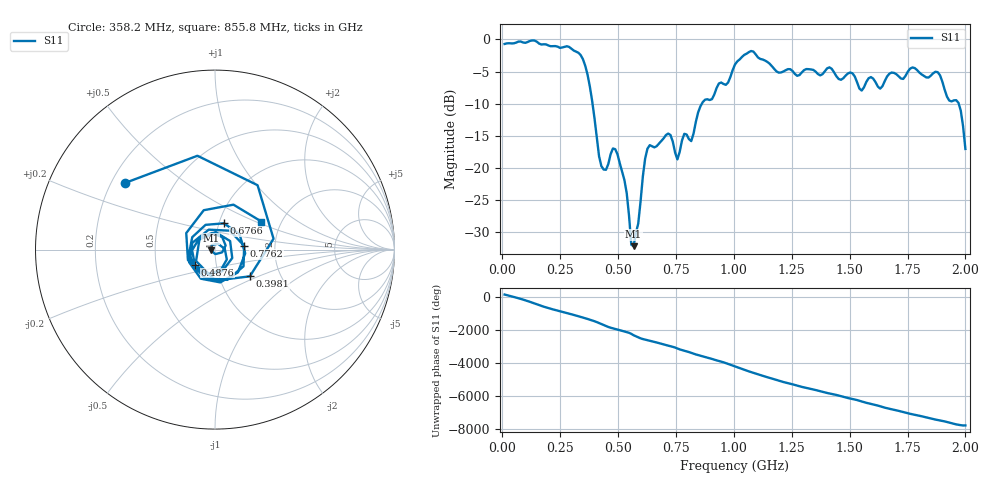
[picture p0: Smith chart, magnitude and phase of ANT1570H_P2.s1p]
!Created with skrf (http://scikit-rf.org).
# Hz S RI R 50.0
!freq ReS11 ImS11
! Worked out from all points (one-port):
!   201 points, 10 MHz to 2 GHz, reference 50 ohm
!   lowest |S11| = -32.2 dB at 567.2 MHz (marker M1), VSWR 1.05, Z = 47.6 - j0.404 ohm
!   |S11| at or under -10 dB: 389.7 MHz to 861.9 MHz (472.3 MHz wide, 75.5 % of centre); 1.971 GHz to end of sweep
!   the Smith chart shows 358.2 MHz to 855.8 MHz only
!   S11 on the Smith chart (normalised r, x): 358.2 MHz: 0.26, +0.31; 398.1 MHz: 1.40, -0.44; 487.6 MHz: 0.79, -0.13; 676.6 MHz: 1.06, +0.32; 776.1 MHz: 1.39, +0.06; 855.8 MHz: 1.58, +0.54
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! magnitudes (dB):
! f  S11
! 10 MHz  -0.7
! 258.8 MHz  -1.3
! 358.2 MHz  -4.1
! 398.1 MHz  -12.2
! 427.9 MHz  -19.7
! 487.6 MHz  -17.1
! 507.5 MHz  -19.3
! 537.4 MHz  -23.9
! 557.2 MHz  -32.0
! 567.2 MHz  -32.2
! 587.1 MHz  -28.7
! 626.9 MHz  -17.0
! 676.6 MHz  -16.2
! 726.4 MHz  -14.9
! 756.2 MHz  -18.7
! 776.1 MHz  -15.7
! 816 MHz  -15.8
! 855.8 MHz  -10.4
! 1.005 GHz  -3.9
! 1.075 GHz  -1.8
! 1.254 GHz  -4.9
! 1.502 GHz  -5.1
! 1.552 GHz  -8.0
! 1.751 GHz  -5.0
! 1.881 GHz  -5.1
! 1.93 GHz  -9.5
! 1.97 GHz  -9.9
! 2 GHz  -17.1
